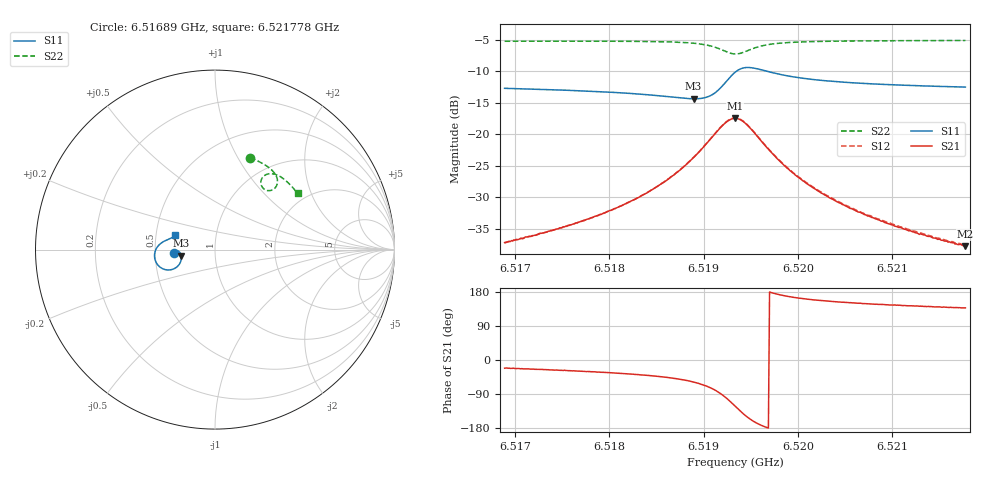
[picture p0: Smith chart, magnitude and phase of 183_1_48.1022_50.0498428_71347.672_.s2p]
#  HZ  S  RI  R  50.00
! Rohde & Schwarz Vector Network Analyzer
! Rohde-Schwarz,ZNB20-2Port,1311601062101988,3.16
! Created: UTC 12/23/2023, 3:52:59 AM
! freq[Hz]  re:S11  im:S11  re:S21  im:S21  re:S12  im:S12  re:S22  im:S22
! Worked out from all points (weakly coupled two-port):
!   401 points, 6.51689 GHz to 6.521778 GHz, reference 50 ohm
!   highest |S21| = -17.47 dB at 6.519334 GHz (marker M1); lowest = -37.8 dB at 6.521778 GHz (marker M2)
!   lowest |S11| = -14.4 dB at 6.518894 GHz (marker M3), VSWR 1.47, Z = 34.1 - j2.35 ohm
!   |S11| at or under -10 dB: start of sweep to 6.519348 GHz; 6.519675 GHz to end of sweep
!   |S22| runs from -7.2 to -5.1 dB; largest |S21 - S12| = 0.0042
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6.5168902e9  -0.231 -0.0191  0.0128 -0.00509  0.013 -0.00457  0.1955 0.512
6.5173178e9  -0.2264 -0.0127  0.015 -0.00708  0.0152 -0.00662  0.2271 0.4991
6.5177088e9  -0.2211 -0.00796  0.0177 -0.0101  0.018 -0.00958  0.2561 0.4851
6.5181487e9  -0.2128 -0.00564  0.0223 -0.016  0.0229 -0.0154  0.2891 0.465
6.5185275e9  -0.202 -0.00965  0.0285 -0.027  0.0294 -0.0261  0.3183 0.441
6.5187474e9  -0.1938 -0.0193  0.0327 -0.04  0.0342 -0.0392  0.3351 0.4207
6.518894e9  -0.1884 -0.0333  0.0344 -0.0554  0.0363 -0.0546  0.3448 0.4009
6.5190162e9  -0.1879 -0.0536  0.0314 -0.0753  0.034 -0.0749  0.3484 0.3783
6.5191017e9  -0.1945 -0.0744  0.0222 -0.0943  0.0253 -0.0943  0.3442 0.3583
6.5192361e9  -0.2356 -0.1096  -0.0198 -0.1223  -0.0163 -0.1239  0.3127 0.33
6.519285e9  -0.2626 -0.1136  -0.0447 -0.1232  -0.0414 -0.1254  0.2934 0.3287
6.5193339e9  -0.2915 -0.1066  -0.07 -0.1141  -0.0671 -0.1169  0.2745 0.3366
6.5193828e9  -0.316 -0.0886  -0.0899 -0.0957  -0.0877 -0.099  0.2608 0.3519
6.5194439e9  -0.3335 -0.0582  -0.102 -0.0674  -0.1009 -0.0709  0.2554 0.3753
6.5195538e9  -0.3331 -0.0091  -0.0962 -0.0256  -0.0964 -0.0286  0.2695 0.4071
6.5196638e9  -0.3173 0.0197  -0.0796 -0.00345  -0.0802 -0.00587  0.292 0.4205
6.5198959e9  -0.2873 0.0445  -0.0519 0.0112  -0.0529 0.00988  0.3306 0.4208
6.5201525e9  -0.2674 0.0539  -0.0355 0.0136  -0.0363 0.0127  0.3596 0.4091
6.5205313e9  -0.2505 0.0611  -0.0232 0.0125  -0.024 0.0121  0.39 0.388
6.5209712e9  -0.2385 0.0675  -0.0159 0.0111  -0.0166 0.0107  0.4183 0.3621
6.5212644e9  -0.2324 0.0717  -0.013 0.00999  -0.0135 0.0099  0.4345 0.3444
6.5217776e9  -0.2235 0.0787  -0.00954 0.00871  -0.0101 0.00854  0.4598 0.3127
